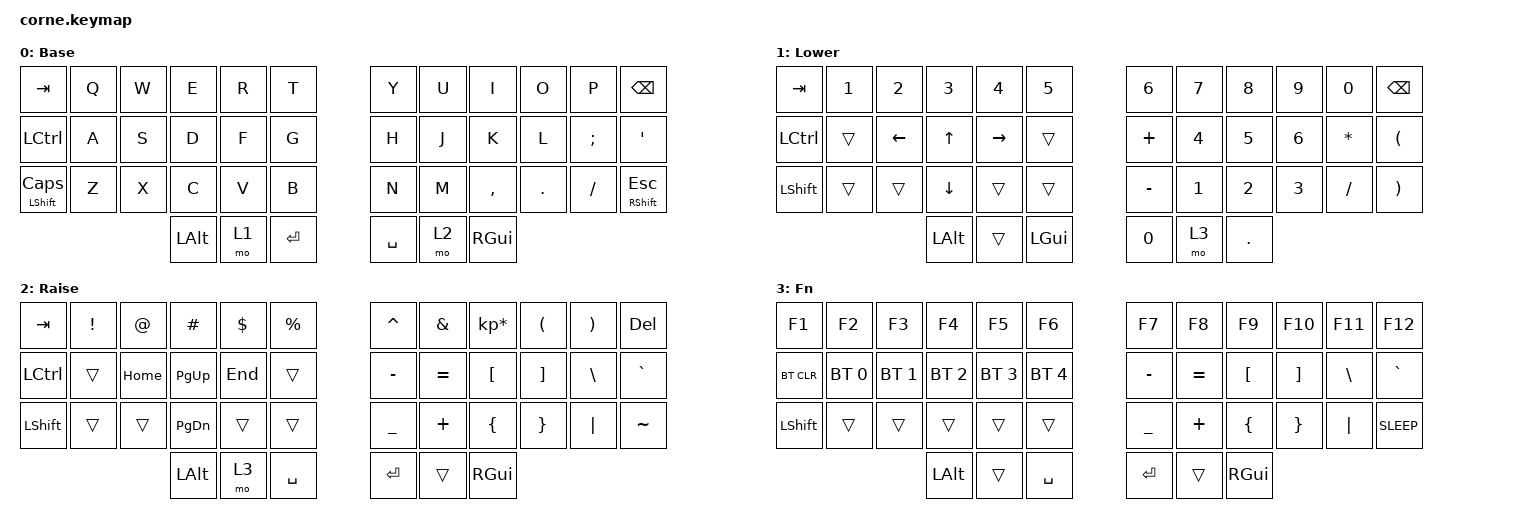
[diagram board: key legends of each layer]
/*
 * Copyright (c) 2020 The ZMK Contributors
 *
 * SPDX-License-Identifier: MIT
 */

#include <behaviors.dtsi>
#include <dt-bindings/zmk/keys.h>
#include <dt-bindings/zmk/bt.h>
#define DEFAULT 0
#define LOWER   1
#define RAISE   2
#define FUNCTION 3

/ {
        keymap {
                compatible = "zmk,keymap";

                default_layer {
// -----------------------------------------------------------------------------------------
// |  TAB |  Q  |  W  |  E  |  R  |  T  |   |  Y  |  U   |  I  |  O  |  P  | BKSP |
// | CTRL |  A  |  S  |  D  |  F  |  G  |   |  H  |  J   |  K  |  L  |  ;  |  '   |
// | SHFT/CAPS |  Z  |  X  |  C  |  V  |  B  |   |  N  |  M   |  ,  |  .  |  /  | ESC/SHIFT  |
//                    | ALT | LWR | ENT |   | SPC | RSE  | GUI |
			display-name = "Base";
                        bindings = <
   &kp TAB   &kp Q &kp W &kp E &kp R &kp T   &kp Y &kp U  &kp I     &kp O   &kp P    &kp BSPC
   &kp LCTRL &kp A &kp S &kp D &kp F &kp G   &kp H &kp J  &kp K     &kp L   &kp SEMI &kp SQT
   &mt LSHFT CAPS &kp Z &kp X &kp C &kp V &kp B   &kp N &kp M  &kp COMMA &kp DOT &kp FSLH &mt RSHIFT ESC
                   &kp LALT  &mo 1 &kp RET   &kp SPACE &mo 2 &kp RGUI
                        >;
                };
                lower_layer {
// -----------------------------------------------------------------------------------------
// |  TAB |  1  |  2  |  3  |  4  |  5  |   |  6  |  7  |  8  |  9  |  0  | BKSP |
// | CTRL |     | LFT |  UP | RHT |     |   |  +  |  4  |  5  |  6  |  *  |  (   |
// | SHFT |     |     | DWN |     |     |   |  -  |  1  |  2  |  3  |  /  |  )   |
//                    | ALT |     | GUI |   |  0  | CMB |  .  |
                        display-name = "Lower";
			bindings = <
   &kp TAB    &kp N1       &kp N2       &kp N3       &kp N4       &kp N5         &kp N6      &kp N7   &kp N8  &kp N9    &kp N0    &kp BSPC
   &kp LCTRL  &trans       &kp LEFT     &kp UP       &kp RIGHT    &trans         &kp PLUS    &kp N4   &kp N5  &kp N6    &kp ASTRK &kp LPAR
   &kp LSHFT  &trans       &trans       &kp DOWN     &trans       &trans         &kp MINUS   &kp N1   &kp N2  &kp N3    &kp FSLH  &kp RPAR
                                        &kp LALT     &trans       &kp LGUI       &kp N0      &mo 3     &kp DOT
                        >;
                };

                raise_layer {
// -----------------------------------------------------------------------------------------
// |  TAB |  !  |  @  |  #  |  $  |  %  |   |  ^  |  &  |  *  |  (  |  )  | DEL |
// | CTRL |     | HOME| PGUP| EMD |     |   |  -  |  =  |  [  |  ]  |  \  |  `   |
// | SHFT |     |     | PGDN|     |     |   |  _  |  +  |  {  |  }  | "|" |  ~   |
//                    | ALT | CMB | SPC |   | ENT |     | GUI |
			display-name = "Raise";
                        bindings = <
   &kp  TAB  &kp EXCL &kp AT &kp HASH &kp DLLR &kp PRCNT   &kp CARET &kp AMPS  &kp KP_MULTIPLY &kp LPAR &kp RPAR &kp DEL
   &kp LCTRL &trans   &kp HOME &kp PG_UP   &kp END   &trans      &kp MINUS &kp EQUAL &kp LBKT        &kp RBKT &kp BSLH &kp GRAVE
   &kp LSHFT &trans   &trans &kp PG_DN   &trans   &trans      &kp UNDER &kp PLUS  &kp LBRC        &kp RBRC &kp PIPE &kp TILDE
                             &kp LALT &mo 3   &kp SPACE   &kp RET   &trans    &kp RGUI
                        >;
                };

                function_layer {
// -----------------------------------------------------------------------------------------
// |  F1  | F2  | F3  | F4  | F5  | F6  |   | F7  | F8  | F9  | F10 | F11 |  F12 |
// | BTCLR| BT1 | BT2 | BT3 | BT4 | BT5 |   |  -  |  =  |  [  |  ]  |  \  |  `   |
// | SHFT |     |     |     |     |     |   |  _  |  +  |  {  |  }  | "|" |  SLEEP   |
//                    | ALT |     | SPC |   | ENT |     | GUI |
			display-name = "Fn";
                        bindings = <
   &kp  F1   &kp F2   &kp F3 &kp F4   &kp F5   &kp F6                          &kp F7    &kp F8    &kp F9          &kp F10  &kp F11  &kp F12
   &bt BT_CLR &bt BT_SEL 0 &bt BT_SEL 1 &bt BT_SEL 2 &bt BT_SEL 3 &bt BT_SEL 4 &kp MINUS &kp EQUAL &kp LBKT        &kp RBKT &kp BSLH &kp GRAVE
   &kp LSHFT &trans   &trans &trans   &trans   &trans                          &kp UNDER &kp PLUS  &kp LBRC        &kp RBRC &kp PIPE &kp K_SLEEP
                             &kp LALT &trans   &kp SPACE                       &kp RET   &trans    &kp RGUI
                        >;
                };
        };
};
